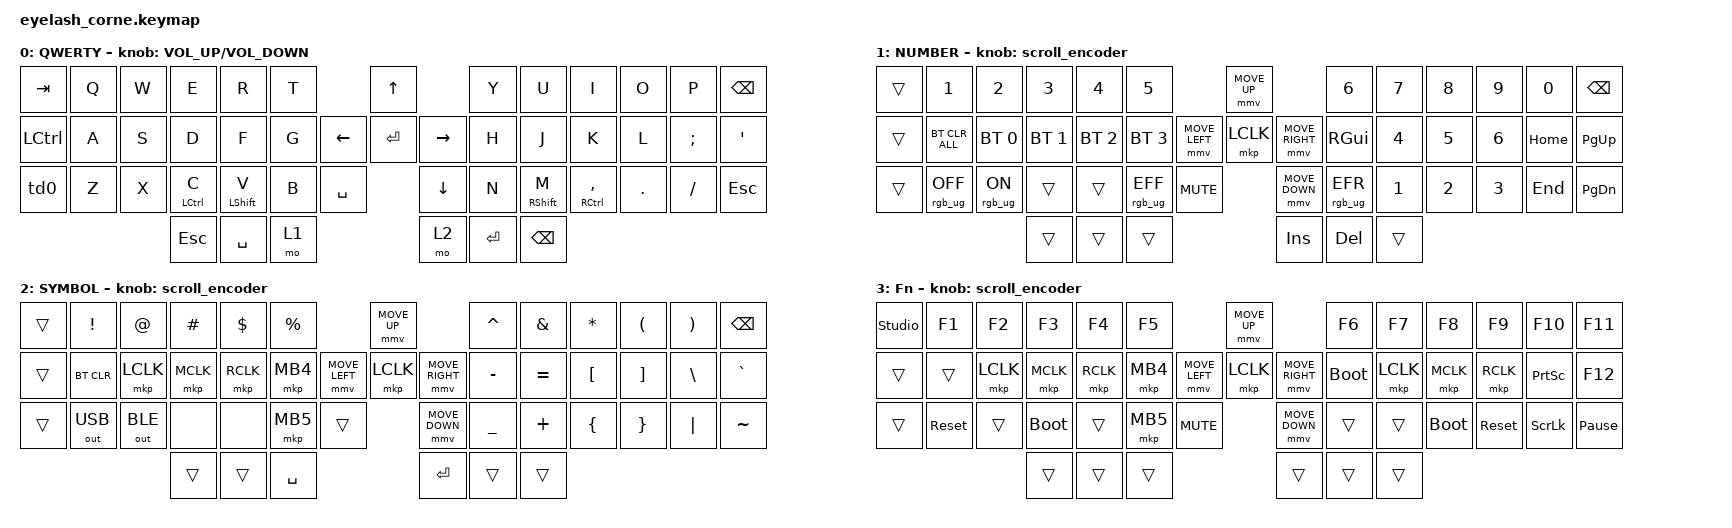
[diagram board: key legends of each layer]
#include <behaviors.dtsi>
#include <dt-bindings/zmk/bt.h>
#include <dt-bindings/zmk/keys.h>
#include <dt-bindings/zmk/mouse.h>
#include <dt-bindings/zmk/outputs.h>
#include <dt-bindings/zmk/rgb.h>

#include <input/processors.dtsi>

/*

   &mmv_input_listener {
       input-processors = <&zip_xy_scaler 2 1>;
   };

   &msc_input_listener {
       input-processors = <&zip_xy_scaler 2 1>;
   };

 */

#define ZMK_MOUSE_DEFAULT_MOVE_VAL 1200  // 600
#define ZMK_MOUSE_DEFAULT_SCRL_VAL 20    // 10

/ {
    behaviors {
        td0: td0 {
            compatible = "zmk,behavior-tap-dance";
            display-name = "Shift/Caps Lock Tap Dance";
            #binding-cells = <0>;
            bindings = <&kp LEFT_SHIFT>, <&kp CAPS>;
        };
        hml: home_row_mod_left {
            compatible = "zmk,behavior-hold-tap";
            #binding-cells = <2>;
            flavor = "balanced";
            require-prior-idle-ms = <150>;
            tapping-term-ms = <280>;
            quick-tap-ms = <175>;
            bindings = <&kp>, <&kp>;
            hold-trigger-key-positions = <0 1 2 3 4 5  12 13 14 15 16 17  24 25 26 27 28 29 >; // List of keys on the right side of the keyboard
            hold-trigger-on-release;
        };
        hmr: home_row_mod_right {
            compatible = "zmk,behavior-hold-tap";
            #binding-cells = <2>;
            flavor = "balanced";
            require-prior-idle-ms = <150>;
            tapping-term-ms = <280>;
            quick-tap-ms = <175>;
            bindings = <&kp>, <&kp>;
            hold-trigger-key-positions = < 6 7 8 9 10 11  18 19 20 21 22 23  30 31 32 33 34 35 >; // List of keys on the left side of the keyboard
            hold-trigger-on-release;
        };
    };

    rgb_encoder: rgb_encoder {
        compatible = "zmk,behavior-sensor-rotate";
        #sensor-binding-cells = <0>;
        bindings = <&rgb_ug RGB_BRI>, <&rgb_ug RGB_BRD>;
    };

    scroll_encoder: scroll_encoder {
        compatible = "zmk,behavior-sensor-rotate";
        #sensor-binding-cells = <0>;
        bindings = <&msc SCRL_DOWN>, <&msc SCRL_UP>;
        tap-ms = <30>;
    };


    keymap {
        compatible = "zmk,keymap";

        default_layer {
            display-name = "QWERTY";
            bindings = <
&kp TAB    &kp Q  &kp W      &kp E         &kp R          &kp T                              &kp UP                &kp Y        &kp U          &kp I             &kp O    &kp P     &kp BSPC
&kp LCTRL  &kp A  &kp S      &kp D         &kp F          &kp G                    &kp LEFT  &kp ENTER  &kp RIGHT  &kp H        &kp J          &kp K             &kp L    &kp SEMI  &kp SQT
&td0       &kp Z  &kp X      &hml LCTRL C  &hml LSHIFT V  &kp B       &kp SPACE              &kp DOWN              &kp N        &hmr RSHIFT M  &hmr RCTRL COMMA  &kp DOT  &kp FSLH  &kp ESC
                             &kp ESC   &kp SPACE   &mo 1                                                &mo 2  &kp ENTER    &kp BSPC 
            >;
            sensor-bindings = <&inc_dec_kp C_VOLUME_UP C_VOLUME_DOWN>;
        };

        lower_layer {
            display-name = "NUMBER";
            bindings = <
&trans  &kp N1           &kp N2          &kp N3        &kp N4        &kp N5                                &mmv MOVE_UP                     &kp N6           &kp N7   &kp N8   &kp N9  &kp N0    &kp BSPC
&trans  &bt BT_CLR_ALL   &bt BT_SEL 0    &bt BT_SEL 1  &bt BT_SEL 2  &bt BT_SEL 3          &mmv MOVE_LEFT  &mkp LCLK  &mmv MOVE_RIGHT       &kp RGUI         &kp N4   &kp N5   &kp N6  &kp HOME  &kp PG_UP
&trans  &rgb_ug RGB_OFF  &rgb_ug RGB_ON  &trans        &trans        &rgb_ug RGB_EFF &kp C_MUTE            &mmv MOVE_DOWN                   &rgb_ug RGB_EFR  &kp N1   &kp N2   &kp N3  &kp END   &kp PG_DN
                                         &trans        &trans        &trans                                                                         &kp INS          &kp DEL          &trans
            >;
            sensor-bindings = <&scroll_encoder>;
        };

        raise_layer {
            display-name = "SYMBOL";
            bindings = <
&trans  &kp EXCL      &kp AT        &kp HASH   &kp DLLR   &kp PRCNT                           &mmv MOVE_UP                     &kp CARET  &kp AMPS   &kp ASTRK  &kp LPAR  &kp RPAR  &kp BSPC
&trans  &bt BT_CLR    &mkp LCLK     &mkp MCLK  &mkp RCLK  &mkp MB4            &mmv MOVE_LEFT  &mkp LCLK       &mmv MOVE_RIGHT  &kp MINUS  &kp EQUAL  &kp LBKT   &kp RBKT  &kp BSLH  &kp GRAVE
&trans  &out OUT_USB  &out OUT_BLE  &none      &none      &mkp MB5  &trans                    &mmv MOVE_DOWN                   &kp UNDER  &kp PLUS   &kp LBRC   &kp RBRC  &kp PIPE  &kp TILDE
                                    &trans     &trans     &kp SPACE                                                            &kp RET    &trans     &trans
            >;
            sensor-bindings = <&scroll_encoder>;
        };

        layer_3 {
            display-name = "Fn";
            bindings = <
&studio_unlock   &kp F1      &kp F2      &kp F3       &kp F4     &kp F5                                  &mmv MOVE_UP                     &kp F6       &kp F7     &kp F8       &kp F9      &kp F10          &kp F11
&trans  &trans      &mkp LCLK   &mkp MCLK    &mkp RCLK  &mkp MB4                &mmv MOVE_LEFT  &mkp LCLK       &mmv MOVE_RIGHT  &bootloader  &mkp LCLK  &mkp MCLK    &mkp RCLK   &kp PRINTSCREEN  &kp F12
&trans  &sys_reset  &trans      &bootloader  &trans     &mkp MB5  &kp C_MUTE                    &mmv MOVE_DOWN                   &trans       &trans     &bootloader  &sys_reset  &kp SCROLLLOCK   &kp PAUSE_BREAK
                                &trans      &trans      &trans                                                                   &trans       &trans     &trans
            >;
            sensor-bindings = <&scroll_encoder>;
        };
    };
};
